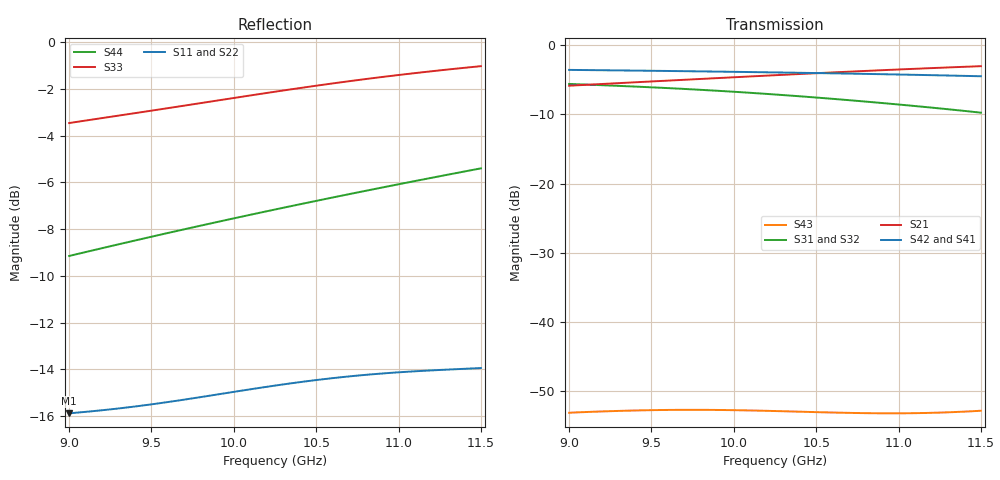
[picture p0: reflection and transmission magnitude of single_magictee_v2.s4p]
! Touchstone file exported from HFSS 2025.2.4
!  File:  C:/Users/chaoy/Documents/single_magictee_v2_stageA/g2_5p40mm_lt_4p50mm/single_magictee_v2.aedt
!  Generated:  03:00:29 PM Sep 19, 2026
!  Design:  SingleMagicT_v2
!  Project:  single_magictee_v2
! Variables:
!  f_adapt = 10.2GHz
!  ridge_g1 = 7.672mm
!  ridge_g2 = 5.4mm
!  ridge_l1 = 9.872mm
!  ridge_l2 = 8.857mm
!  ridge_w = 4.572mm
!  terminal_ridge_len = 4.5mm
!  wg_a = 22.86mm
!  wg_b = 10.16mm
!Data is not renormalized
# GHz S MA
! Terminal data exported
! Port[1] = P1_CollinearMinusX
! Port[2] = P2_CollinearPlusX
! Port[3] = P3_HArm_Ridged
! Port[4] = P4_EArm
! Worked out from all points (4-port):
!   101 points, 9 GHz to 11.5 GHz, reference per port
!   strongest paths, dB at 9 GHz, 9.625 GHz, 10.25 GHz, 10.88 GHz, 11.5 GHz:
!     S42: -3.6, -3.7, -3.9, -4.2, -4.5
!     S41: -3.6, -3.7, -3.9, -4.2, -4.5
!     S21: -5.9, -5.1, -4.3, -3.6, -3.0
!     S31: -5.6, -6.2, -7.1, -8.3, -9.7
!     S32: -5.6, -6.3, -7.2, -8.3, -9.8
!     S43: -53.1, -52.7, -52.8, -53.2, -52.8
!   lowest |S11| = -15.9 dB at 9 GHz (marker M1), VSWR 1.38
!   |S11| at or under -10 dB: start of sweep to end of sweep
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9  0.1606 -155.1  0.5098 -158.4  0.5252 119.0  0.6622 45.2
   0.5098 -158.4  0.1624 -155.1  0.5232 118.8  0.6633 -134.9
   0.5252 119.0  0.5232 118.8  0.6712 -144.5  0.002218 -46.8
   0.6622 45.2  0.6633 -134.9  0.002218 -46.8  0.3487 -109.7
9.475  0.1674 158.9  0.5454 147.7  0.498 61.9  0.6531 -8.8
       0.5454 147.7  0.1693 158.8  0.4961 61.7  0.6541 171.1
       0.498 61.9  0.4961 61.7  0.7113 153.4  0.002312 -109.7
       0.6531 -8.8  0.6541 171.1  0.002312 -109.7  0.3816 -160.5
10.05  0.1797 103.5  0.5908 85.1  0.4571 -5.6  0.6401 -71.5
       0.5908 85.1  0.1812 103.5  0.4551 -5.9  0.6411 108.4
       0.4571 -5.6  0.4551 -5.9  0.7641 79.1  0.002309 175.8
       0.6401 -71.5  0.6411 108.4  0.002309 175.8  0.4234 139.5
10.425  0.1878 66.8  0.6215 45.2  0.4256 -48.7  0.6304 -111.3
        0.6215 45.2  0.1889 66.8  0.4235 -49.1  0.6314 68.6
        0.4256 -48.7  0.4235 -49.1  0.7997 32.0  0.002253 129.1
        0.6304 -111.3  0.6314 68.6  0.002253 129.1  0.4517 100.9
10.75  0.1934 34.7  0.648 11.1  0.3962 -85.6  0.6211 -145.2
       0.648 11.1  0.1943 34.7  0.3942 -86.0  0.6221 34.7
       0.3962 -85.6  0.3942 -86.0  0.8292 -8.1  0.002208 90.2
       0.6211 -145.2  0.6221 34.7  0.002208 90.2  0.4767 67.8
11.175  0.1982 -7.0  0.6813 -33.1  0.3566 -133.3  0.6077 171.0
        0.6813 -33.1  0.1993 -7.0  0.3548 -133.8  0.6084 -9.2
        0.3566 -133.3  0.3548 -133.8  0.8643 -59.8  0.002211 40.3
        0.6077 171.0  0.6084 -9.2  0.002211 40.3  0.5104 24.8
11.5  0.2008 -38.2  0.7057 -66.7  0.3257 -169.7  0.5964 137.6
      0.7057 -66.7  0.2025 -38.4  0.324 -170.5  0.5967 -42.6
      0.3257 -169.7  0.324 -170.5  0.8882 -99.7  0.002293 1.5
      0.5964 137.6  0.5967 -42.6  0.002293 1.5  0.5369 -8.0
